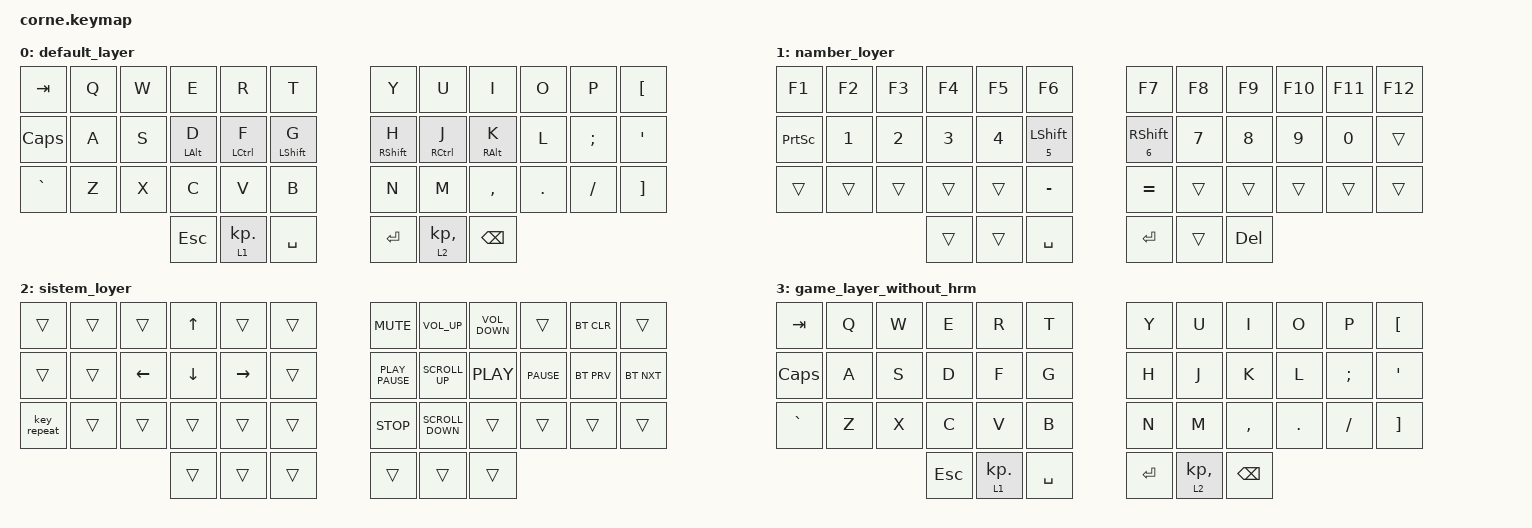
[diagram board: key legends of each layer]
/*
 * Copyright (c) 2020 The ZMK Contributors
 *
 * SPDX-License-Identifier: MIT
 */

#include <behaviors.dtsi>
#include <dt-bindings/zmk/bt.h>
#include <dt-bindings/zmk/keys.h>

/ {
    combos {
        compatible = "zmk,combos";

        combo_esc {
            timeout-ms = <50>;
            key-positions = <0 1>;
            bindings = <&kp ESC>;
            layers = <0 1 2>;
        };

        Left_Parenthesis {
            bindings = <&kp LEFT_PARENTHESIS>;
            key-positions = <4 3>;
            layers = <0>;
            timeout-ms = <50>;
        };

        Right_Parenthesis {
            bindings = <&kp RIGHT_PARENTHESIS>;
            key-positions = <7 8>;
            layers = <0>;
            timeout-ms = <50>;
        };

        Left_Bracket {
            bindings = <&kp LEFT_BRACKET>;
            key-positions = <16 15>;
            timeout-ms = <50>;
            layers = <0>;
        };

        Right_Bracket {
            bindings = <&kp RIGHT_BRACKET>;
            key-positions = <19 20>;
            timeout-ms = <50>;
            layers = <0>;
        };

        Left_Brace {
            bindings = <&kp LEFT_BRACE>;
            key-positions = <28 27>;
            timeout-ms = <50>;
            layers = <0>;
        };

        Right_Brace {
            bindings = <&kp RIGHT_BRACE>;
            key-positions = <31 32>;
            timeout-ms = <50>;
            layers = <0>;
        };

        game_loyer {
            bindings = <&mo 3>;
            key-positions = <24 35>;
        };

        default_layer {
            bindings = <&mo 0>;
            key-positions = <12 23>;
        };
    };

    behaviors {
        ss_hs_modmorph: ss_hs_modmorph {
            compatible = "zmk,behavior-mod-morph";
            label = "SS_HS_MODMORPH";
            bindings = <&kp M>, <&kp RIGHT_BRACKET>;

            #binding-cells = <0>;
            mods = <(MOD_LSFT|MOD_RSFT)>;
        };

        kh_hs_tapdance: kh_hs_tapdance {
            compatible = "zmk,behavior-tap-dance";
            label = "KH_HS_TAPDANCE";
            #binding-cells = <0>;
            tapping-term-ms = <200>;
            bindings = <&kp LEFT_BRACKET>, <&kp RIGHT_BRACKET>;
        };

        hrm: hrm {
            compatible = "zmk,behavior-hold-tap";
            #binding-cells = <2>;
            flavor = "hold-preferred";
            tapping-term-ms = <200>;
            quick-tap-ms = <200>;
            require-prior-idle-ms = <125>;
            bindings = <&kp>, <&kp>;

            hold-trigger-key-positions = <14 15 16 17 18 19 20 21>;
        };
    };

    macros {
        new_macro: new_macro {
            compatible = "zmk,behavior-macro";
            #binding-cells = <0>;
            bindings = <&none>;
            label = "NEW_MACRO";
        };
    };

    keymap {
        compatible = "zmk,keymap";

        default_layer {
            // -----------------------------------------------------------------------------------------
            // |  TAB |  Q  |  W  |  E  |  R  |  T  |   |  Y  |  U   |  I  |  O  |  P  | BKSP |
            // | CTRL |  A  |  S  |  D  |  F  |  G  |   |  H  |  J   |  K  |  L  |  ;  |  '   |
            // | SHFT |  Z  |  X  |  C  |  V  |  B  |   |  N  |  M   |  ,  |  .  |  /  | ESC  |
            //                    | GUI | LWR | SPC |   | ENT | RSE  | ALT |

            bindings = <
&kp TAB       &kp Q  &kp W  &kp E            &kp R         &kp T                &kp Y               &kp U           &kp I             &kp O    &kp P     &kp LEFT_BRACKET
&kp CAPSLOCK  &kp A  &kp S  &hrm LEFT_ALT D  &hrm LCTRL F  &hrm LEFT_SHIFT G    &hrm RIGHT_SHIFT H  &hrm RCTRL J    &hrm RIGHT_ALT K  &kp L    &kp SEMI  &kp SQT
&kp GRAVE     &kp Z  &kp X  &kp C            &kp V         &kp B                &kp N               &kp M           &kp COMMA         &kp DOT  &kp FSLH  &kp RIGHT_BRACKET
                            &kp ESCAPE       &lt 1 KP_DOT  &kp SPACE            &kp RET             &lt 2 KP_COMMA  &kp BACKSPACE
            >;
        };

        namber_loyer {
            bindings = <
&kp F1           &kp F2  &kp F3  &kp F4  &kp F5  &kp F6                &kp F7               &kp F8  &kp F9   &kp F10  &kp F11  &kp F12
&kp PRINTSCREEN  &kp N1  &kp N2  &kp N3  &kp N4  &hrm N5 LEFT_SHIFT    &hrm N6 RIGHT_SHIFT  &kp N7  &kp N8   &kp N9   &kp N0   &trans
&trans           &trans  &trans  &trans  &trans  &kp MINUS             &kp EQUAL            &trans  &trans   &trans   &trans   &trans
                                 &trans  &trans  &kp SPACE             &kp ENTER            &trans  &kp DEL
            >;
        };

        sistem_loyer {
            bindings = <
&trans       &trans  &trans          &kp UP_ARROW    &trans           &trans    &kp K_MUTE        &kp C_VOLUME_UP    &kp C_VOLUME_DOWN  &trans       &bt BT_CLR  &trans
&trans       &trans  &kp LEFT_ARROW  &kp DOWN_ARROW  &kp RIGHT_ARROW  &trans    &kp K_PLAY_PAUSE  &kp K_SCROLL_UP    &kp C_PLAY         &kp C_PAUSE  &bt BT_PRV  &bt BT_NXT
&key_repeat  &trans  &trans          &trans          &trans           &trans    &kp K_STOP        &kp K_SCROLL_DOWN  &trans             &trans       &trans      &trans
                                     &trans          &trans           &trans    &trans            &trans             &trans
            >;
        };

        game_layer_without_hrm {
            bindings = <
&kp TAB       &kp Q  &kp W  &kp E       &kp R         &kp T        &kp Y    &kp U           &kp I          &kp O    &kp P     &kp LEFT_BRACKET
&kp CAPSLOCK  &kp A  &kp S  &kp D       &kp F         &kp G        &kp H    &kp J           &kp K          &kp L    &kp SEMI  &kp SQT
&kp GRAVE     &kp Z  &kp X  &kp C       &kp V         &kp B        &kp N    &kp M           &kp COMMA      &kp DOT  &kp FSLH  &kp RIGHT_BRACKET
                            &kp ESCAPE  &lt 1 KP_DOT  &kp SPACE    &kp RET  &lt 2 KP_COMMA  &kp BACKSPACE
            >;
        };
    };
};
